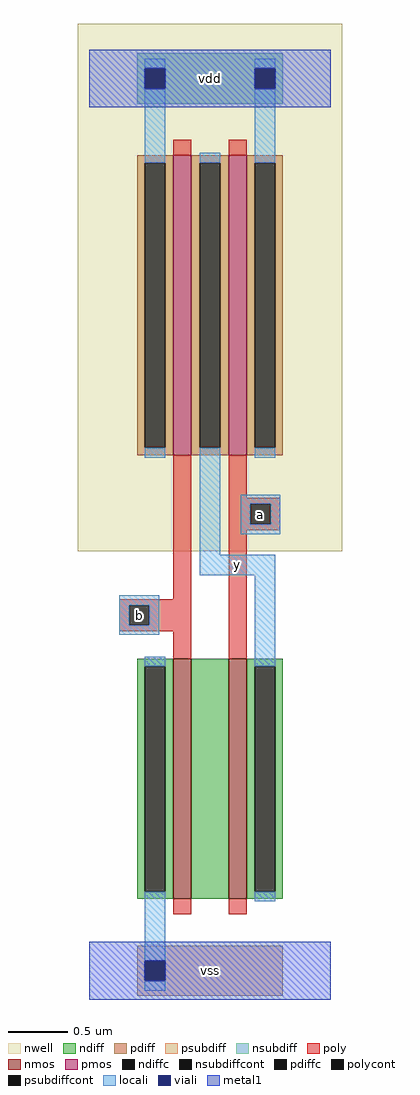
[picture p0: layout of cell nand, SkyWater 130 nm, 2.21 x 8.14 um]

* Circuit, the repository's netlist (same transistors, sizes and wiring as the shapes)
** sch_path: /cygdrive/d/hoctap/fpga/verilog_school/VLSI/lab4/xschem/nand.sch
.subckt nand a b y vdd vss
*.PININFO a:I b:I y:O vdd:B vss:B
XMPA y a vdd vdd sky130_fd_pr__pfet_01v8 L=0.15 W=2.5 nf=1 m=1
XMPB y b vdd vdd sky130_fd_pr__pfet_01v8 L=0.15 W=2.5 nf=1 m=1
XMNA y a n1 vss sky130_fd_pr__nfet_01v8 L=0.15 W=2 nf=1 m=1
XMNB n1 b vss vss sky130_fd_pr__nfet_01v8 L=0.15 W=2 nf=1 m=1
.ends

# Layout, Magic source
magic
tech sky130A
magscale 1 2
<< nwell >>
rect -20 700 422 1580
<< nmos >>
rect 140 120 170 520
rect 232 120 262 520
<< pmos >>
rect 140 860 170 1360
rect 232 860 262 1360
<< ndiff >>
rect 80 508 140 520
rect 80 132 92 508
rect 126 132 140 508
rect 80 120 140 132
rect 170 120 232 520
rect 262 508 322 520
rect 262 132 276 508
rect 310 132 322 508
rect 262 120 322 132
<< pdiff >>
rect 80 1348 140 1360
rect 80 872 92 1348
rect 126 872 140 1348
rect 80 860 140 872
rect 170 1348 232 1360
rect 170 872 184 1348
rect 218 872 232 1348
rect 170 860 232 872
rect 262 1348 322 1360
rect 262 872 276 1348
rect 310 872 322 1348
rect 262 860 322 872
<< ndiffc >>
rect 92 132 126 508
rect 276 132 310 508
<< pdiffc >>
rect 92 872 126 1348
rect 184 872 218 1348
rect 276 872 310 1348
<< psubdiff >>
rect 80 17 322 42
rect 80 -17 92 17
rect 126 -17 322 17
rect 80 -42 322 -17
<< nsubdiff >>
rect 80 1505 322 1530
rect 80 1471 92 1505
rect 126 1471 276 1505
rect 310 1471 322 1505
rect 80 1446 322 1471
<< psubdiffcont >>
rect 92 -17 126 17
<< nsubdiffcont >>
rect 92 1471 126 1505
rect 276 1471 310 1505
<< poly >>
rect 140 1360 170 1386
rect 232 1360 262 1386
rect 140 620 170 860
rect 50 610 170 620
rect 50 576 66 610
rect 100 576 170 610
rect 50 566 170 576
rect 140 520 170 566
rect 232 789 262 860
rect 232 779 318 789
rect 232 745 268 779
rect 302 745 318 779
rect 232 735 318 745
rect 232 520 262 735
rect 140 94 170 120
rect 232 94 262 120
<< polycont >>
rect 66 576 100 610
rect 268 745 302 779
<< locali >>
rect 92 1505 126 1521
rect 92 1348 126 1471
rect 276 1505 310 1521
rect 92 856 126 872
rect 184 1348 218 1364
rect 184 694 218 872
rect 276 1348 310 1471
rect 276 856 310 872
rect 252 779 318 794
rect 252 745 268 779
rect 302 745 318 779
rect 252 728 318 745
rect 184 660 310 694
rect 50 610 116 626
rect 50 576 66 610
rect 100 576 116 610
rect 50 560 116 576
rect 92 508 126 524
rect 92 17 126 132
rect 276 508 310 660
rect 276 116 310 132
rect 92 -33 126 -17
<< viali >>
rect 92 1471 126 1505
rect 276 1471 310 1505
rect 92 -17 126 17
<< metal1 >>
rect 0 1505 402 1536
rect 0 1471 92 1505
rect 126 1471 276 1505
rect 310 1471 402 1505
rect 0 1440 402 1471
rect 0 17 402 48
rect 0 -17 92 17
rect 126 -17 402 17
rect 0 -48 402 -17
<< labels >>
rlabel locali 252 728 318 794 0 a
port 1 nsew signal input
rlabel locali 50 560 116 626 0 b
port 2 nsew signal input
rlabel locali 184 660 310 694 0 y
port 3 nsew signal output
rlabel metal1 0 1440 402 1536 0 vdd
port 4 nsew signal bidirectional
rlabel metal1 0 -48 402 48 0 vss
port 5 nsew signal bidirectional
<< end >>
